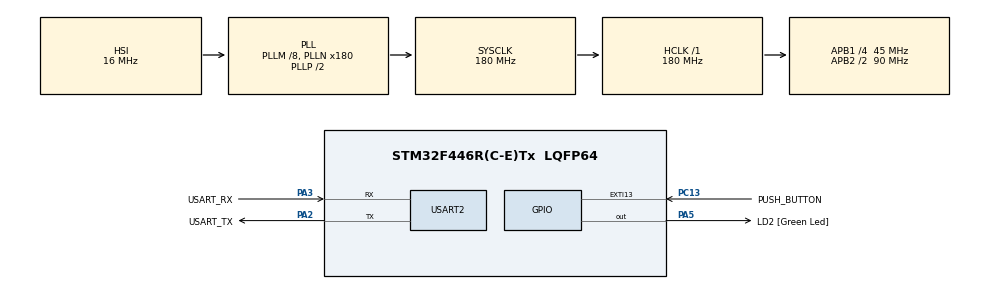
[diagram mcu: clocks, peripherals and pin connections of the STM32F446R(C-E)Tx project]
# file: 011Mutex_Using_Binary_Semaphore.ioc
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Mcu.Family=STM32F4
VP_SYS_VS_tim6.Mode=TIM6
PH0-OSC_IN.Signal=RCC_OSC_IN
RCC.CortexFreq_Value=180000000
NVIC.TIM6_DAC_IRQn=true\:0\:0\:false\:false\:true\:false\:true
PC13.Signal=GPXTI13
PA14.GPIO_Label=TCK
VP_RTC_VS_RTC_Activate.Mode=RTC_Enabled
PC13.GPIO_Label=PUSH_BUTTON
RCC.APB1CLKDivider=RCC_HCLK_DIV4
PC14-OSC32_IN.Signal=RCC_OSC32_IN
NVIC.USART2_IRQn=true\:6\:0\:true\:false\:true\:true\:true
RCC.SYSCLKSource=RCC_SYSCLKSOURCE_PLLCLK
ProjectManager.StackSize=0x400
PA13.Signal=SYS_JTMS-SWDIO
PA3.Mode=Asynchronous
ProjectManager.TargetToolchain=STM32CubeIDE
RCC.HCLKFreq_Value=180000000
RCC.APB2TimFreq_Value=180000000
RCC.USBFreq_Value=180000000
RCC.LSE_VALUE=32768
PC15-OSC32_OUT.Signal=RCC_OSC32_OUT
RCC.AHBFreq_Value=180000000
PA5.Signal=GPIO_Output
RCC.HSE_VALUE=8000000
board=NUCLEO-F446RE
RCC.VCOOutputFreq_Value=360000000
RCC.APB2Freq_Value=90000000
PH1-OSC_OUT.Signal=RCC_OSC_OUT
Mcu.Name=STM32F446R(C-E)Tx
PA2.Signal=USART2_TX
PA13.GPIO_Label=TMS
RCC.FLatency-AdvancedSettings=FLASH_LATENCY_5
PB3.Signal=SYS_JTDO-SWO
RCC.SYSCLKFreq_VALUE=180000000
Mcu.Package=LQFP64
NVIC.TimeBase=TIM6_DAC_IRQn
PA5.GPIO_Label=LD2 [Green Led]
PC13.GPIO_ModeDefaultEXTI=GPIO_MODE_IT_RISING
USART2.VirtualMode=VM_ASYNC
PA2.GPIO_Label=USART_TX
NVIC.TimeBaseIP=TIM6
PA14.Signal=SYS_JTCK-SWCLK
RTC.HourFormat=RTC_HOURFORMAT_12
ProjectManager.HeapSize=0x200
RCC.HSI_VALUE=16000000
NVIC.PriorityGroup=NVIC_PRIORITYGROUP_4
RCC.APB2CLKDivider=RCC_HCLK_DIV2
RCC.PLLM=8
RCC.PLLN=180
RCC.APB1TimFreq_Value=90000000
PA2.Mode=Asynchronous
RCC.APB1Freq_Value=45000000
PA3.GPIO_Label=USART_RX
PA3.Signal=USART2_RX
PB3.GPIO_Label=SWO

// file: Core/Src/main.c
/* USER CODE BEGIN Header */
/**
  ******************************************************************************
  * @file           : main.c
  * @brief          : Main program body
  ******************************************************************************
  * @attention
  *
  * <h2><center>&copy; Copyright (c) 2021 STMicroelectronics.
  * All rights reserved.</center></h2>
  *
  * This software component is licensed by ST under BSD 3-Clause license,
  * the "License"; You may not use this file except in compliance with the
  * License. You may obtain a copy of the License at:
  *                        opensource.org/licenses/BSD-3-Clause
  *
  ******************************************************************************
  */
/* USER CODE END Header */
#include "main.h"

/* USER CODE BEGIN PD */
/* Used as a loop counter to create a very crude delay. */
#define DWT_CTRL    				(*(volatile uint32_t*)0xE0001000)
#define mainDELAY_LOOP_COUNT		(0xFFFFF)
/* USER CODE END PD */

RTC_HandleTypeDef hrtc;

UART_HandleTypeDef huart2;

/* USER CODE BEGIN PV */
char usr_msg[250] = {0};
TaskHandle_t xTaskHandle1 = NULL;
TaskHandle_t xTaskHandle2 = NULL;
/* USER CODE END PV */

void SystemClock_Config(void);
static void MX_GPIO_Init(void);
static void MX_RTC_Init(void);
static void MX_USART2_UART_Init(void);

/* USER CODE BEGIN PFP */
void vTask1(void *pvParameters);
void vTask2(void *pvParameters);
void printmsg(char *msg);
extern void SEGGER_UART_init(uint32_t);
/* USER CODE END PFP */

/* USER CODE BEGIN 0 */

xSemaphoreHandle xBinarySemaphore;
/* USER CODE END 0 */

int main(void)
{
  /* USER CODE BEGIN 1 */
	SEGGER_UART_init(500000);
	// Used to collect SEGGER Event time-stamps
	DWT->CTRL |= (1 << 0); //Enable CYCCNT in DWT_CTRL

  /* USER CODE END 1 */

  /* MCU Configuration--------------------------------------------------------*/

  /* Reset of all peripherals, Initializes the Flash interface and the Systick. */
  HAL_Init();

  /* Configure the system clock */
  SystemClock_Config();

  /* Initialize all configured peripherals */
  MX_GPIO_Init();
  MX_RTC_Init();
  MX_USART2_UART_Init();

  /* USER CODE BEGIN 2 */

    //Start Recording with Segger SystemView
  	SEGGER_SYSVIEW_Conf();
  	//SEGGER_SYSVIEW_Start();

  	sprintf(usr_msg,"Demo of Mutual exclusion using binary semaphore\r\n");
  	printmsg(usr_msg);

  	//Create binary semaphore
  	vSemaphoreCreateBinary(xBinarySemaphore);

  	/* Check the semaphore was created successfully. */
  	if(xBinarySemaphore != NULL) {

		/* Create the two tasks */
  		xTaskCreate(vTask1, "Task 1", 500, NULL, 1, NULL);
		xTaskCreate(vTask2, "Task 2", 500, NULL, 1, NULL);

		/* Makes semaphore available for the first time */
		xSemaphoreGive(xBinarySemaphore);

  		/* Start the scheduler so the created tasks start executing. */
  		vTaskStartScheduler();
  	}

  	sprintf(usr_msg, "Semaphore creation failed... \r\n");
  	printmsg(usr_msg);

  	//Code will never reach here if creation of Queue/Semaphore was successful because the scheduler will be running the tasks indefinitely.
  	//If it does reach here, then it is likely due to insufficient heap memory available for a resource to be created.

  /* USER CODE END 2 */

  /* Infinite loop */
  while (1)
  {

  }
}

void SystemClock_Config(void)
{
  RCC_OscInitTypeDef RCC_OscInitStruct = {0};
  RCC_ClkInitTypeDef RCC_ClkInitStruct = {0};
  RCC_PeriphCLKInitTypeDef PeriphClkInitStruct = {0};

  /** Configure the main internal regulator output voltage
  */
  __HAL_RCC_PWR_CLK_ENABLE();
  __HAL_PWR_VOLTAGESCALING_CONFIG(PWR_REGULATOR_VOLTAGE_SCALE1);
  /** Initializes the RCC Oscillators according to the specified parameters
  * in the RCC_OscInitTypeDef structure.
  */
  RCC_OscInitStruct.OscillatorType = RCC_OSCILLATORTYPE_HSI|RCC_OSCILLATORTYPE_LSI;
  RCC_OscInitStruct.LSEState = RCC_LSE_OFF;
  RCC_OscInitStruct.HSIState = RCC_HSI_ON;
  RCC_OscInitStruct.HSICalibrationValue = RCC_HSICALIBRATION_DEFAULT;
  RCC_OscInitStruct.LSIState = RCC_LSI_ON;
  RCC_OscInitStruct.PLL.PLLState = RCC_PLL_ON;
  RCC_OscInitStruct.PLL.PLLSource = RCC_PLLSOURCE_HSI;
  RCC_OscInitStruct.PLL.PLLM = 8;
  RCC_OscInitStruct.PLL.PLLN = 180;
  RCC_OscInitStruct.PLL.PLLP = RCC_PLLP_DIV2;
  RCC_OscInitStruct.PLL.PLLQ = 2;
  RCC_OscInitStruct.PLL.PLLR = 2;
  if (HAL_RCC_OscConfig(&RCC_OscInitStruct) != HAL_OK)
  {
    Error_Handler();
  }
  /** Activate the Over-Drive mode
  */
  if (HAL_PWREx_EnableOverDrive() != HAL_OK)
  {
    Error_Handler();
  }
  /** Initializes the CPU, AHB and APB buses clocks
  */
  RCC_ClkInitStruct.ClockType = RCC_CLOCKTYPE_HCLK|RCC_CLOCKTYPE_SYSCLK
                              |RCC_CLOCKTYPE_PCLK1|RCC_CLOCKTYPE_PCLK2;
  RCC_ClkInitStruct.SYSCLKSource = RCC_SYSCLKSOURCE_PLLCLK;
  RCC_ClkInitStruct.AHBCLKDivider = RCC_SYSCLK_DIV1;
  RCC_ClkInitStruct.APB1CLKDivider = RCC_HCLK_DIV4;
  RCC_ClkInitStruct.APB2CLKDivider = RCC_HCLK_DIV2;

  if (HAL_RCC_ClockConfig(&RCC_ClkInitStruct, FLASH_LATENCY_5) != HAL_OK)
  {
    Error_Handler();
  }
  PeriphClkInitStruct.PeriphClockSelection = RCC_PERIPHCLK_RTC;
  PeriphClkInitStruct.RTCClockSelection = RCC_RTCCLKSOURCE_LSI;
  if (HAL_RCCEx_PeriphCLKConfig(&PeriphClkInitStruct) != HAL_OK)
  {
    Error_Handler();
  }
}

static void MX_RTC_Init(void)
{

  /** Initialize RTC Only
  */
  hrtc.Instance = RTC;
  hrtc.Init.HourFormat = RTC_HOURFORMAT_12;
  hrtc.Init.AsynchPrediv = 127;
  hrtc.Init.SynchPrediv = 255;
  hrtc.Init.OutPut = RTC_OUTPUT_DISABLE;
  hrtc.Init.OutPutPolarity = RTC_OUTPUT_POLARITY_HIGH;
  hrtc.Init.OutPutType = RTC_OUTPUT_TYPE_OPENDRAIN;
  if (HAL_RTC_Init(&hrtc) != HAL_OK)
  {
    Error_Handler();
  }

}

static void MX_USART2_UART_Init(void)
{

  huart2.Instance = USART2;
  huart2.Init.BaudRate = 115200;
  huart2.Init.WordLength = UART_WORDLENGTH_8B;
  huart2.Init.StopBits = UART_STOPBITS_1;
  huart2.Init.Parity = UART_PARITY_NONE;
  huart2.Init.Mode = UART_MODE_TX_RX;
  huart2.Init.HwFlowCtl = UART_HWCONTROL_NONE;
  huart2.Init.OverSampling = UART_OVERSAMPLING_16;
  if (HAL_UART_Init(&huart2) != HAL_OK)
  {
    Error_Handler();
  }

}

static void MX_GPIO_Init(void)
{
  GPIO_InitTypeDef GPIO_InitStruct = {0};

  /* GPIO Ports Clock Enable */
  __HAL_RCC_GPIOC_CLK_ENABLE();
  __HAL_RCC_GPIOH_CLK_ENABLE();
  __HAL_RCC_GPIOA_CLK_ENABLE();
  __HAL_RCC_GPIOB_CLK_ENABLE();

  /*Configure GPIO pin Output Level */
  HAL_GPIO_WritePin(LD2_GPIO_Port, LD2_Pin, GPIO_PIN_RESET);

  /*Configure GPIO pin : PUSH_BUTTON_Pin */
  GPIO_InitStruct.Pin = PUSH_BUTTON_Pin;
  GPIO_InitStruct.Mode = GPIO_MODE_IT_RISING;
  GPIO_InitStruct.Pull = GPIO_NOPULL;
  HAL_GPIO_Init(PUSH_BUTTON_GPIO_Port, &GPIO_InitStruct);

  /*Configure GPIO pin : LD2_Pin */
  GPIO_InitStruct.Pin = LD2_Pin;
  GPIO_InitStruct.Mode = GPIO_MODE_OUTPUT_PP;
  GPIO_InitStruct.Pull = GPIO_NOPULL;
  GPIO_InitStruct.Speed = GPIO_SPEED_FREQ_LOW;
  HAL_GPIO_Init(LD2_GPIO_Port, &GPIO_InitStruct);

}

/* USER CODE BEGIN 4 */
void vTask1(void *pvParameters) {

	const char *pcTaskName = "Task 1 is running\r\n";

	for(;;) {
		/* Decreases binary semaphore count to 0 */
		xSemaphoreTake(xBinarySemaphore, portMAX_DELAY);

		/* Print out the name of this task. */
		sprintf(usr_msg, "%s", pcTaskName);
		printmsg(usr_msg);

		/* Increases binary semaphore count to 1 */
		xSemaphoreGive(xBinarySemaphore);

		/* Block task for 500 ticks */
		vTaskDelay(pdMS_TO_TICKS(500));
	}
}

void vTask2(void *pvParameters) {

	const char *pcTaskName = "Task 2 is running\r\n";

	for(;;) {
		/* Decreases binary semaphore count to 0 */
		xSemaphoreTake(xBinarySemaphore, portMAX_DELAY);

		/* Print out the name of this task. */
		sprintf(usr_msg, "%s", pcTaskName);
		printmsg(usr_msg);

		/* Increases binary semaphore count to 1 */
		xSemaphoreGive(xBinarySemaphore);

		/* Block task for 500 ticks */
		vTaskDelay(pdMS_TO_TICKS(500));
	}
}

void printmsg(char *msg) {

	for(uint32_t i = 0; i < strlen(msg); i++) {
		HAL_UART_Transmit(&huart2, (uint8_t*)&msg[i], sizeof(msg[i]), HAL_MAX_DELAY);
	}
}
/* USER CODE END 4 */

 /**
  * @brief  Period elapsed callback in non blocking mode
  * @note   This function is called  when TIM6 interrupt took place, inside
  * HAL_TIM_IRQHandler(). It makes a direct call to HAL_IncTick() to increment
  * a global variable "uwTick" used as application time base.
  * @param  htim : TIM handle
  * @retval None
  */
void HAL_TIM_PeriodElapsedCallback(TIM_HandleTypeDef *htim)
{
  if (htim->Instance == TIM6) {
    HAL_IncTick();
  }
}

void Error_Handler(void)
{
  __disable_irq();
  while (1)
  {
  }
}

/************************ (C) COPYRIGHT STMicroelectronics *****END OF FILE****/
